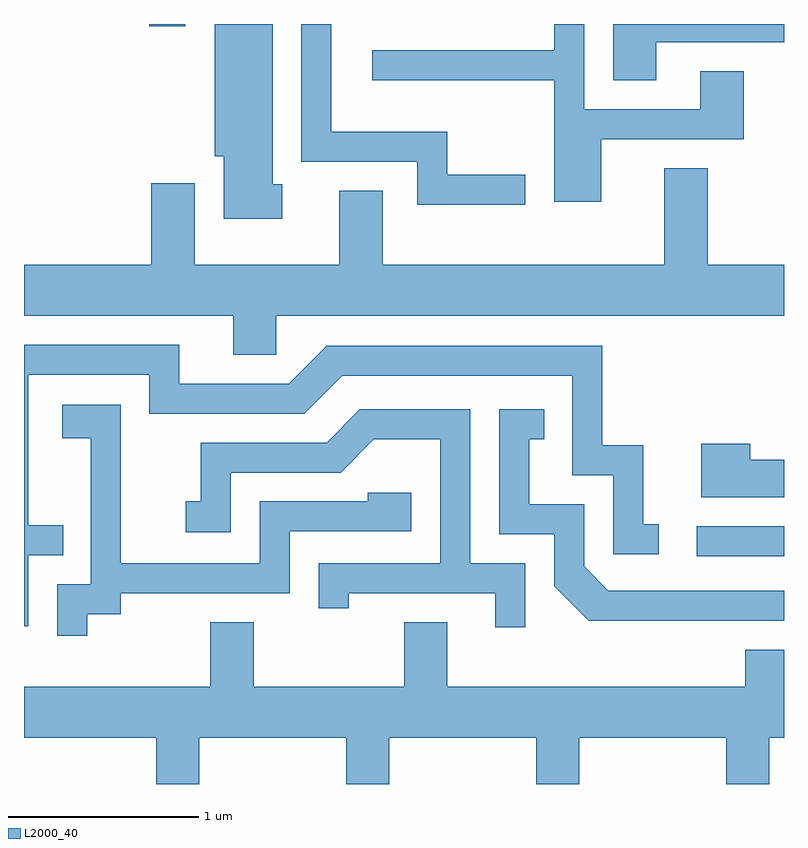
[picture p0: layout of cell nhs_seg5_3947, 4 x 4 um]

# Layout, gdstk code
import gdstk
lib = gdstk.Library(unit=1e-6, precision=1e-09)
def R(c, l, rs):  # rectangles x0, y0, x1, y1
    for r in rs: c.add(gdstk.rectangle(r[:2], r[2:], *l))
def P(c, l, *ps):  # polygons
    for p in ps: c.add(gdstk.Polygon(p, *l))
L2000_40 = (2000, 40)

nhs_seg5_3947 = lib.new_cell('nhs_seg5_3947')
R(nhs_seg5_3947, L2000_40, [(305.153,1493.271,305.611,1493.429), (302.271,1496.061,302.459,1496.072)])
P(nhs_seg5_3947, L2000_40, [(304.939,1495.976),(305.611,1495.976),(305.611,1496.072),(304.711,1496.072),(304.711,1495.776),(304.939,1495.776)],
  [(304.649,1495.466),(305.399,1495.466),(305.399,1495.824),(305.171,1495.824),(305.171,1495.624),(304.559,1495.624),(304.559,1496.072),(304.401,1496.072),(304.401,1495.934),(303.443,1495.934),(303.443,1495.776),(304.401,1495.776),(304.401,1495.136),(304.649,1495.136)],
  [(304.248,1495.279),(303.839,1495.279),(303.839,1495.504),(303.229,1495.504),(303.229,1496.072),(303.071,1496.072),(303.071,1495.346),(303.681,1495.346),(303.681,1495.121),(304.248,1495.121)],
  [(302.969,1495.229),(302.919,1495.229),(302.919,1496.072),(302.616,1496.072),(302.616,1495.376),(302.661,1495.376),(302.661,1495.046),(302.969,1495.046)],
  [(302.939,1494.536),(305.611,1494.536),(305.611,1494.804),(305.209,1494.804),(305.209,1495.314),(304.981,1495.314),(304.981,1494.804),(303.499,1494.804),(303.499,1495.194),(303.271,1495.194),(303.271,1494.804),(302.509,1494.804),(302.509,1495.234),(302.281,1495.234),(302.281,1494.804),(301.611,1494.804),(301.611,1494.536),(302.711,1494.536),(302.711,1494.331),(302.939,1494.331)],
  [(301.634,1493.276),(301.818,1493.276),(301.818,1493.434),(301.634,1493.434),(301.634,1494.226),(302.271,1494.226),(302.271,1494.021),(303.087,1494.021),(303.287,1494.221),(304.496,1494.221),(304.496,1493.696),(304.711,1493.696),(304.711,1493.281),(304.953,1493.281),(304.953,1493.439),(304.869,1493.439),(304.869,1493.854),(304.654,1493.854),(304.654,1494.379),(303.204,1494.379),(303.004,1494.179),(302.429,1494.179),(302.429,1494.384),(301.611,1494.384),(301.611,1492.901),(301.634,1492.901)],
  [(301.944,1492.966),(302.119,1492.966),(302.119,1493.076),(303.009,1493.076),(303.009,1493.401),(303.649,1493.401),(303.649,1493.604),(303.421,1493.604),(303.421,1493.559),(302.851,1493.559),(302.851,1493.234),(302.119,1493.234),(302.119,1494.069),(301.811,1494.069),(301.811,1493.891),(301.961,1493.891),(301.961,1493.124),(301.786,1493.124),(301.786,1492.853),(301.944,1492.853)],
  [(304.249,1493.234),(303.959,1493.234),(303.959,1494.044),(303.379,1494.044),(303.204,1493.869),(302.541,1493.869),(302.541,1493.559),(302.463,1493.559),(302.463,1493.396),(302.699,1493.396),(302.699,1493.711),(303.277,1493.711),(303.452,1493.886),(303.801,1493.886),(303.801,1493.234),(303.161,1493.234),(303.161,1492.998),(303.319,1492.998),(303.319,1493.076),(304.091,1493.076),(304.091,1492.898),(304.249,1492.898)],
  [(305.611,1493.089),(304.687,1493.089),(304.559,1493.217),(304.559,1493.544),(304.269,1493.544),(304.269,1493.886),(304.348,1493.886),(304.348,1494.044),(304.111,1494.044),(304.111,1493.386),(304.401,1493.386),(304.401,1493.114),(304.584,1492.931),(305.611,1492.931)],
  [(305.611,1493.779),(305.434,1493.779),(305.434,1493.864),(305.176,1493.864),(305.176,1493.581),(305.611,1493.581)],
  [(302.534,1492.316),(303.306,1492.316),(303.306,1492.072),(303.534,1492.072),(303.534,1492.316),(304.306,1492.316),(304.306,1492.072),(304.534,1492.072),(304.534,1492.316),(305.306,1492.316),(305.306,1492.072),(305.534,1492.072),(305.534,1492.316),(305.611,1492.316),(305.611,1492.779),(305.406,1492.779),(305.406,1492.584),(303.839,1492.584),(303.839,1492.924),(303.611,1492.924),(303.611,1492.584),(302.819,1492.584),(302.819,1492.924),(302.591,1492.924),(302.591,1492.584),(301.611,1492.584),(301.611,1492.316),(302.306,1492.316),(302.306,1492.072),(302.534,1492.072)])

lib.write_gds('nhs_seg5_3947.gds')
